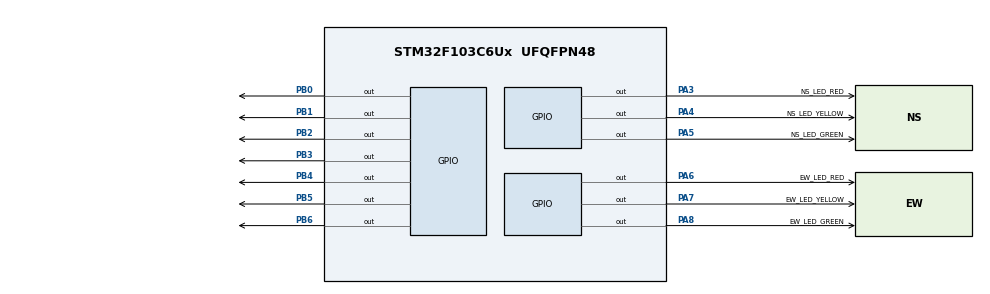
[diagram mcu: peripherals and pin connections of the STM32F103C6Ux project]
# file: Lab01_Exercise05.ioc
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Mcu.Family=STM32F1
Mcu.Name=STM32F103C6Ux
Mcu.Package=UFQFPN48
NVIC.PriorityGroup=NVIC_PRIORITYGROUP_4
PA3.GPIO_Label=NS_LED_RED
PA3.Signal=GPIO_Output
PA4.GPIO_Label=NS_LED_YELLOW
PA4.Signal=GPIO_Output
PA5.GPIO_Label=NS_LED_GREEN
PA5.Signal=GPIO_Output
PA6.GPIO_Label=EW_LED_RED
PA6.Signal=GPIO_Output
PA7.GPIO_Label=EW_LED_YELLOW
PA7.Signal=GPIO_Output
PA8.GPIO_Label=EW_LED_GREEN
PA8.Signal=GPIO_Output
PB0.Signal=GPIO_Output
PB1.Signal=GPIO_Output
PB2.Signal=GPIO_Output
PB3.Signal=GPIO_Output
PB4.Signal=GPIO_Output
PB5.Signal=GPIO_Output
PB6.Signal=GPIO_Output
ProjectManager.HeapSize=0x200
ProjectManager.StackSize=0x400
ProjectManager.TargetToolchain=STM32CubeIDE
RCC.APB1Freq_Value=8000000
RCC.APB2Freq_Value=8000000
VP_SYS_VS_ND.Mode=No_Debug
board=custom

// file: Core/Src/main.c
/* USER CODE BEGIN Header */
/**
  ******************************************************************************
  * @file           : main.c
  * @brief          : Main program body
  ******************************************************************************
  * @attention
  *
  * <h2><center>&copy; Copyright (c) 2025 STMicroelectronics.
  * All rights reserved.</center></h2>
  *
  * This software component is licensed by ST under BSD 3-Clause license,
  * the "License"; You may not use this file except in compliance with the
  * License. You may obtain a copy of the License at:
  *                        opensource.org/licenses/BSD-3-Clause
  *
  ******************************************************************************
  */
/* USER CODE END Header */
#include "main.h"

void SystemClock_Config(void);
static void MX_GPIO_Init(void);

int arr[10][7] = {
	 //a, b, c, d, e, f, g
	  {0, 0, 0, 0, 0, 0, 1}, //0
	  {1, 0, 0, 1, 1, 1, 1}, //1
	  {0, 0, 1, 0, 0, 1, 0}, //2
	  {0, 0, 0, 0, 1, 1, 0}, //3
	  {1, 0, 0, 1, 1, 0, 0}, //4
	  {0, 1, 0, 0, 1, 0, 0}, //5
	  {0, 1, 0, 0, 0, 0, 0}, //6
	  {0, 0, 0, 1, 1, 1, 1}, //7
	  {0, 0, 0, 0, 0, 0, 0}, //8
	  {0, 0, 0, 0, 1, 0, 0}  //9
};

void display7SEG(int num){
	if(num < 0 || num > 9) return;
	for(int i = 0; i < 7; i++){
		HAL_GPIO_WritePin(GPIOB, 1 << i, arr[num][i]);
	}
}

void countdown(int second){
	for(int s = second; s > 0; s--){
		display7SEG(s);
		HAL_Delay(1000);
	}
}

int main(void)
{

  /* MCU Configuration--------------------------------------------------------*/

  /* Reset of all peripherals, Initializes the Flash interface and the Systick. */
  HAL_Init();

  /* Configure the system clock */
  SystemClock_Config();

  /* Initialize all configured peripherals */
  MX_GPIO_Init();

  /* Infinite loop */
  /* USER CODE BEGIN WHILE */

  HAL_GPIO_WritePin(EW_LED_RED_GPIO_Port   , EW_LED_RED_Pin	  , 1);
  HAL_GPIO_WritePin(EW_LED_YELLOW_GPIO_Port, EW_LED_YELLOW_Pin, 1);
  HAL_GPIO_WritePin(EW_LED_GREEN_GPIO_Port , EW_LED_GREEN_Pin , 1);
  while (1)
  {
	  //State 1: RED
	  HAL_GPIO_WritePin(NS_LED_RED_GPIO_Port   , NS_LED_RED_Pin	  , 0);
	  HAL_GPIO_WritePin(NS_LED_YELLOW_GPIO_Port, NS_LED_YELLOW_Pin, 1);
	  HAL_GPIO_WritePin(NS_LED_GREEN_GPIO_Port , NS_LED_GREEN_Pin , 1);
	  countdown(5);

	  //State 2: GREEN
	  HAL_GPIO_WritePin(NS_LED_RED_GPIO_Port   , NS_LED_RED_Pin	  , 1);
	  HAL_GPIO_WritePin(NS_LED_YELLOW_GPIO_Port, NS_LED_YELLOW_Pin, 1);
	  HAL_GPIO_WritePin(NS_LED_GREEN_GPIO_Port , NS_LED_GREEN_Pin , 0);
	  countdown(3);

	  //State 3: YELLOW
	  HAL_GPIO_WritePin(NS_LED_RED_GPIO_Port   , NS_LED_RED_Pin	  , 1);
	  HAL_GPIO_WritePin(NS_LED_YELLOW_GPIO_Port, NS_LED_YELLOW_Pin, 0);
	  HAL_GPIO_WritePin(NS_LED_GREEN_GPIO_Port , NS_LED_GREEN_Pin , 1);
	  countdown(2);
    /* USER CODE END WHILE */

  }
}

void SystemClock_Config(void)
{
  RCC_OscInitTypeDef RCC_OscInitStruct = {0};
  RCC_ClkInitTypeDef RCC_ClkInitStruct = {0};

  /** Initializes the RCC Oscillators according to the specified parameters
  * in the RCC_OscInitTypeDef structure.
  */
  RCC_OscInitStruct.OscillatorType = RCC_OSCILLATORTYPE_HSI;
  RCC_OscInitStruct.HSIState = RCC_HSI_ON;
  RCC_OscInitStruct.HSICalibrationValue = RCC_HSICALIBRATION_DEFAULT;
  RCC_OscInitStruct.PLL.PLLState = RCC_PLL_NONE;
  if (HAL_RCC_OscConfig(&RCC_OscInitStruct) != HAL_OK)
  {
    Error_Handler();
  }
  /** Initializes the CPU, AHB and APB buses clocks
  */
  RCC_ClkInitStruct.ClockType = RCC_CLOCKTYPE_HCLK|RCC_CLOCKTYPE_SYSCLK
                              |RCC_CLOCKTYPE_PCLK1|RCC_CLOCKTYPE_PCLK2;
  RCC_ClkInitStruct.SYSCLKSource = RCC_SYSCLKSOURCE_HSI;
  RCC_ClkInitStruct.AHBCLKDivider = RCC_SYSCLK_DIV1;
  RCC_ClkInitStruct.APB1CLKDivider = RCC_HCLK_DIV1;
  RCC_ClkInitStruct.APB2CLKDivider = RCC_HCLK_DIV1;

  if (HAL_RCC_ClockConfig(&RCC_ClkInitStruct, FLASH_LATENCY_0) != HAL_OK)
  {
    Error_Handler();
  }
}

static void MX_GPIO_Init(void)
{
  GPIO_InitTypeDef GPIO_InitStruct = {0};

  /* GPIO Ports Clock Enable */
  __HAL_RCC_GPIOA_CLK_ENABLE();
  __HAL_RCC_GPIOB_CLK_ENABLE();

  /*Configure GPIO pin Output Level */
  HAL_GPIO_WritePin(GPIOA, NS_LED_RED_Pin|NS_LED_YELLOW_Pin|NS_LED_GREEN_Pin|EW_LED_RED_Pin
                          |EW_LED_YELLOW_Pin|EW_LED_GREEN_Pin, GPIO_PIN_RESET);

  /*Configure GPIO pin Output Level */
  HAL_GPIO_WritePin(GPIOB, GPIO_PIN_0|GPIO_PIN_1|GPIO_PIN_2|GPIO_PIN_3
                          |GPIO_PIN_4|GPIO_PIN_5|GPIO_PIN_6, GPIO_PIN_RESET);

  /*Configure GPIO pins : NS_LED_RED_Pin NS_LED_YELLOW_Pin NS_LED_GREEN_Pin EW_LED_RED_Pin
                           EW_LED_YELLOW_Pin EW_LED_GREEN_Pin */
  GPIO_InitStruct.Pin = NS_LED_RED_Pin|NS_LED_YELLOW_Pin|NS_LED_GREEN_Pin|EW_LED_RED_Pin
                          |EW_LED_YELLOW_Pin|EW_LED_GREEN_Pin;
  GPIO_InitStruct.Mode = GPIO_MODE_OUTPUT_PP;
  GPIO_InitStruct.Pull = GPIO_NOPULL;
  GPIO_InitStruct.Speed = GPIO_SPEED_FREQ_LOW;
  HAL_GPIO_Init(GPIOA, &GPIO_InitStruct);

  /*Configure GPIO pins : PB0 PB1 PB2 PB3
                           PB4 PB5 PB6 */
  GPIO_InitStruct.Pin = GPIO_PIN_0|GPIO_PIN_1|GPIO_PIN_2|GPIO_PIN_3
                          |GPIO_PIN_4|GPIO_PIN_5|GPIO_PIN_6;
  GPIO_InitStruct.Mode = GPIO_MODE_OUTPUT_PP;
  GPIO_InitStruct.Pull = GPIO_NOPULL;
  GPIO_InitStruct.Speed = GPIO_SPEED_FREQ_LOW;
  HAL_GPIO_Init(GPIOB, &GPIO_InitStruct);

}

void Error_Handler(void)
{
  __disable_irq();
  while (1)
  {
  }
}

/************************ (C) COPYRIGHT STMicroelectronics *****END OF FILE****/
